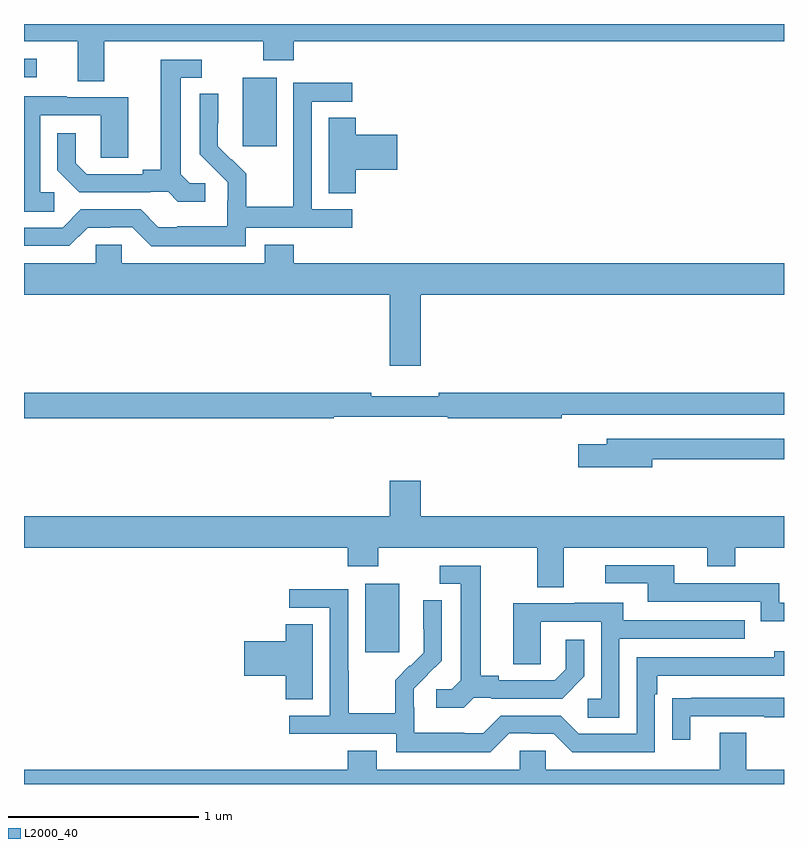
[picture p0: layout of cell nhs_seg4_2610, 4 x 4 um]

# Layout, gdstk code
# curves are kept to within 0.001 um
import gdstk
lib = gdstk.Library(unit=1e-6, precision=1e-09)
def R(c, l, rs):  # rectangles x0, y0, x1, y1
    for r in rs: c.add(gdstk.rectangle(r[:2], r[2:], *l))
def P(c, l, *ps):  # polygons
    for p in ps: c.add(gdstk.Polygon(p, *l))
L2000_40 = (2000, 40)

nhs_seg4_2610 = lib.new_cell('nhs_seg4_2610')
R(nhs_seg4_2610, L2000_40, [(248.795,805.593,248.974,805.954), (248.15,808.257,248.329,808.618), (247,808.62,247.066,808.716)])
P(nhs_seg4_2610, L2000_40, [(247.423,808.808),(248.26,808.808),(248.26,808.709),(248.42,808.709),(248.42,808.808),(251,808.808),(251,808.9),(247,808.9),(247,808.808),(247.283,808.808),(247.283,808.6),(247.423,808.6)],
  [(247.954,808.062),(247.872,808.062),(247.825,808.109),(247.825,808.617),(247.936,808.617),(247.936,808.713),(247.721,808.713),(247.721,808.133),(247.625,808.133),(247.625,808.11),(247.33,808.11),(247.273,808.167),(247.273,808.324),(247.176,808.324),(247.176,808.13),(247.292,808.014),(247.664,808.014),(247.664,808.017),(247.758,808.017),(247.81,807.965),(247.954,807.965)],
  [(248.166,807.828),(248.728,807.828),(248.728,807.924),(248.514,807.924),(248.514,808.491),(248.728,808.491),(248.728,808.59),(248.418,808.59),(248.418,808.16),(248.416,808.16),(248.416,807.937),(248.171,807.937),(248.171,808.111),(248.094,808.188),(248.091,808.185),(248.021,808.256),(248.022,808.532),(247.926,808.532),(247.926,808.214),(248.072,808.066),(248.072,807.969),(248.07,807.969),(248.07,807.835),(247.807,807.835),(247.807,807.831),(247.707,807.831),(247.614,807.924),(247.299,807.924),(247.203,807.828),(247,807.828),(247,807.732),(247.239,807.732),(247.335,807.828),(247.454,807.828),(247.454,807.831),(247.569,807.831),(247.669,807.731),(248.166,807.731)],
  [(247.159,808.014),(247.086,808.014),(247.086,808.419),(247.404,808.419),(247.404,808.195),(247.549,808.195),(247.549,808.515),(247.225,808.515),(247.225,808.519),(247,808.519),(247,807.913),(247.159,807.913)],
  [(248.747,808.133),(248.965,808.133),(248.965,808.316),(248.747,808.316),(248.747,808.406),(248.603,808.406),(248.603,808.009),(248.747,808.009)],
  [(249.088,807.476),(251,807.476),(251,807.64),(248.42,807.64),(248.42,807.739),(248.267,807.739),(248.267,807.64),(247.515,807.64),(247.515,807.738),(247.377,807.738),(247.377,807.64),(247,807.64),(247,807.476),(248.924,807.476),(248.924,807.102),(249.088,807.102)],
  [(248.63,806.832),(249.23,806.832),(249.23,806.824),(249.83,806.824),(249.83,806.844),(251,806.844),(251,806.96),(249.184,806.96),(249.184,806.941),(248.828,806.941),(248.828,806.96),(247,806.96),(247,806.824),(248.63,806.824)],
  [(250.306,806.61),(251,806.61),(251,806.718),(250.067,806.718),(250.067,806.689),(249.918,806.689),(249.918,806.567),(250.306,806.567)],
  [(249.841,806.144),(250.595,806.144),(250.595,806.045),(250.743,806.045),(250.743,806.144),(251,806.144),(251,806.308),(249.088,806.308),(249.088,806.497),(248.924,806.497),(248.924,806.308),(247,806.308),(247,806.144),(248.705,806.144),(248.705,806.045),(248.865,806.045),(248.865,806.144),(249.701,806.144),(249.701,805.936),(249.841,805.936)],
  [(251,805.854),(250.974,805.854),(250.974,805.956),(250.423,805.956),(250.423,806.052),(250.059,806.052),(250.059,805.956),(250.283,805.956),(250.283,805.86),(250.878,805.86),(250.878,805.757),(251,805.757)],
  [(249.366,805.353),(249.46,805.353),(249.46,805.35),(249.832,805.35),(249.948,805.466),(249.948,805.66),(249.851,805.66),(249.851,805.503),(249.794,805.446),(249.499,805.446),(249.499,805.469),(249.403,805.469),(249.403,806.049),(249.189,806.049),(249.189,805.953),(249.299,805.953),(249.299,805.445),(249.252,805.398),(249.171,805.398),(249.171,805.301),(249.314,805.301)],
  [(249.555,805.167),(249.671,805.167),(249.671,805.164),(249.789,805.164),(249.885,805.068),(250.32,805.068),(250.32,805.373),(250.333,805.373),(250.333,805.47),(251,805.47),(251,805.6),(250.949,805.6),(250.949,805.566),(250.224,805.566),(250.224,805.164),(249.921,805.164),(249.825,805.26),(249.51,805.26),(249.417,805.167),(249.317,805.167),(249.317,805.171),(249.054,805.171),(249.054,805.305),(249.052,805.305),(249.052,805.402),(249.198,805.55),(249.198,805.868),(249.102,805.868),(249.102,805.714),(249.104,805.714),(249.104,805.592),(249.033,805.521),(249.03,805.524),(248.953,805.447),(248.953,805.273),(248.709,805.273),(248.709,805.496),(248.706,805.496),(248.706,805.926),(248.397,805.926),(248.397,805.827),(248.61,805.827),(248.61,805.26),(248.397,805.26),(248.397,805.164),(248.958,805.164),(248.958,805.067),(249.455,805.067)],
  [(250.134,805.665),(250.793,805.665),(250.793,805.761),(250.153,805.761),(250.153,805.855),(249.899,805.855),(249.899,805.851),(249.575,805.851),(249.575,805.531),(249.72,805.531),(249.72,805.755),(250.038,805.755),(250.038,805.35),(249.966,805.35),(249.966,805.249),(250.134,805.249)],
  [(248.521,805.742),(248.378,805.742),(248.378,805.652),(248.16,805.652),(248.16,805.469),(248.378,805.469),(248.378,805.345),(248.521,805.345)],
  [(250.507,805.257),(250.897,805.257),(250.897,805.252),(251,805.252),(251,805.353),(250.513,805.353),(250.513,805.352),(250.411,805.352),(250.411,805.134),(250.507,805.134)],
  [(251,804.976),(250.801,804.976),(250.801,805.171),(250.661,805.171),(250.661,804.976),(249.747,804.976),(249.747,805.074),(249.609,805.074),(249.609,804.976),(248.857,804.976),(248.857,805.075),(248.705,805.075),(248.705,804.976),(247,804.976),(247,804.9),(251,804.9)])

lib.write_gds('nhs_seg4_2610.gds')
